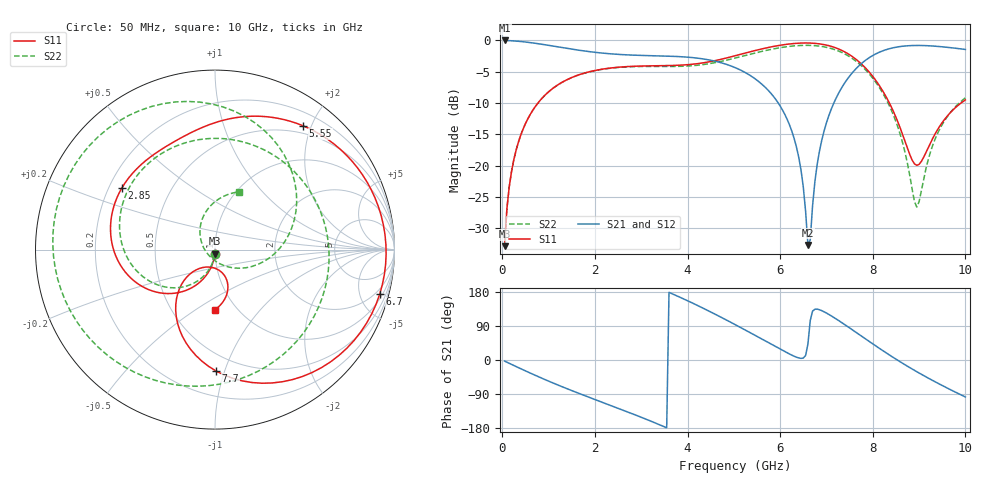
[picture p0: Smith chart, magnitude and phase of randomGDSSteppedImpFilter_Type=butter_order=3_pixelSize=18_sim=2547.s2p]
! freq	dB(S11)	phase(S11)	dB(S12)	phase(S12)
!  dB(S21)	phase(S21)	dB(S22)	phase(S22)
!S-par simulation data
#  GHz  S  DB  R 50
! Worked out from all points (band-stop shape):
!   200 points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, 50 MHz to 10 GHz, reference 50 ohm
!   highest |S21| = 0.00 dB at 50 MHz (marker M1); lowest = -32.6 dB at 6.6 GHz (marker M2)
!   |S21| within 3 dB of the highest: start of sweep to 4.381 GHz; 7.874 GHz to end of sweep
!   lowest |S11| = -32.8 dB at 50 MHz (marker M3), VSWR 1.05, Z = 49.8 - j2.27 ohm
!   |S11| at or under -10 dB: start of sweep to 769.9 MHz; 8.359 GHz to 9.904 GHz (1.546 GHz wide, 16.9 % of centre)
!   |S22| runs from -32.9 to -0.8 dB; largest |S21 - S12| = 0
!   S11 on the Smith chart (normalised r, x): 50 MHz: 1.00, -0.05; 2.85 GHz: 0.25, +0.28; 5.55 GHz: 0.39, +1.87; 6.7 GHz: 1.39, -7.23; 7.7 GHz: 0.38, -0.94; 10 GHz: 0.80, -0.60
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0.05  -32.85 -92.7  -0.00 -2.9  -0.00 -2.9  -32.85 -93.2
0.2  -20.90 -101.2  -0.06 -11.7  -0.06 -11.7  -20.90 -103.0
0.5  -13.29 -117.1  -0.25 -28.7  -0.25 -28.7  -13.30 -121.6
1.1  -7.60 -146.3  -0.91 -60.9  -0.91 -60.9  -7.61 -156.7
1.75  -5.26 -173.9  -1.66 -92.6  -1.66 -92.6  -5.28 167.5
2.85  -4.12 146.7  -2.36 -143.9  -2.36 -143.9  -4.18 104.7
3.4  -4.04 129.5  -2.47 -171.1  -2.47 -171.1  -4.16 67.6
4.3  -3.62 103.7  -2.91 138.9  -2.91 138.9  -3.89 -6.5
5.05  -2.40 77.7  -4.41 92.0  -4.41 92.0  -2.77 -75.1
5.55  -1.45 54.6  -6.64 59.0  -6.64 59.0  -1.84 -119.0
6.3  -0.49 11.5  -15.60 10.1  -15.60 10.1  -0.87 178.2
6.5  -0.41 -1.5  -23.41 5.2  -23.41 5.2  -0.79 161.5
6.6  -0.41 -8.3  -32.64 42.5  -32.64 42.5  -0.78 153.0
6.65  -0.42 -11.7  -31.84 104.3  -31.84 104.3  -0.79 148.8
6.7  -0.44 -15.2  -26.40 129.0  -26.40 129.0  -0.81 144.5
7  -0.75 -36.8  -13.15 123.9  -13.15 123.9  -1.10 118.4
7.35  -1.66 -63.0  -7.29 97.1  -7.29 97.1  -1.98 86.7
7.7  -3.39 -89.4  -4.06 67.8  -4.06 67.8  -3.69 53.9
8.35  -9.87 -130.3  -1.34 14.0  -1.34 14.0  -10.31 -9.0
8.95  -19.94 -101.4  -0.80 -30.9  -0.80 -30.9  -26.60 -138.3
9.4  -14.24 -69.2  -0.95 -61.0  -0.95 -61.0  -14.84 113.7
10  -9.50 -90.1  -1.44 -97.6  -1.44 -97.6  -9.16 67.5
